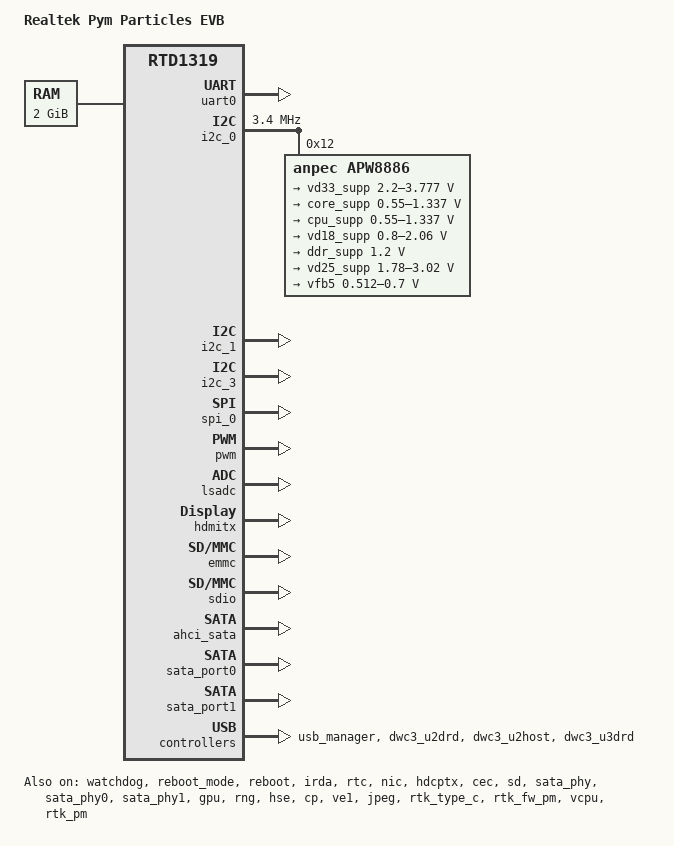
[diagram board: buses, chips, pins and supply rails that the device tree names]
// SPDX-License-Identifier: (GPL-2.0-or-later OR BSD-2-Clause)
/*
 * Copyright (c) 2019-2020 Realtek Semiconductor Corp.
 */

/dts-v1/;

#include <dt-bindings/regulator/anpec,apw888x.h>
#include <dt-bindings/clock/rtd1319-clk.h>
#include <dt-bindings/thermal/thermal.h>

#include "rtd13xx.dtsi"

/ {
	compatible = "realtek,pym-particles", "realtek,rtd1319";
	model = "Realtek Pym Particles EVB";

	memory@4000 {
		device_type = "memory";
		reg = <0x00004000 0x7fffc000>; /* boot ROM to 1 GiB or 2 GiB */
	};

	chosen {
		stdout-path = "serial0:460800n8";
	};
};

/* debug console (J1) */
&uart0 {
	status = "okay";
};

/* M.2 slot (CON8) */
&uart1 {
	status = "disabled";
};

/* GPIO connector (T1) */
&uart2 {
	status = "disabled";
};

/* PMIC */
&i2c_0 {
	clock-frequency = <3400000>;
	pinctrl-0 = <&i2c_pins_0_HS>;
	status = "okay";

	apw8886: apw8886@12 {
		compatible = "anpec,apw8886";
		reg = <0x12>;

		regulators: regulators {
			compatible = "anpec,apw8886-regulator";
		};

	};
};

&i2c_1 {
	status = "okay";
};

&i2c_3 {
	status = "okay";
};

&watchdog {
	status = "okay";
};

&reboot_mode {
	status = "okay";
};

&reboot {
	status = "okay";
};

&irda {
	status = "okay";
};

&gpio {
	status = "okay";
};

&rtc {
	status = "okay";
};

&nic {
	status = "okay";
};

&spi_0 {
	status = "okay";
};

&pwm {
	status = "okay";
};

&lsadc {
	status = "okay";
};

&hdmitx {
	status = "okay";
};

&hdcptx {
	status = "okay";
};

&cec {
	status = "okay";
};

&emmc {
	status = "okay";
};

&sd {
	status = "okay";
};

&sdio {
	status = "okay";
};

&sata_phy {
	status = "okay";
};

&sata_phy0 {
	status = "okay";
};

&sata_phy1 {
	status = "okay";
};

&ahci_sata {
	status = "okay";
};

&sata_port0 {
	status = "okay";
};

&sata_port1 {
	status = "okay";
};

&gpu {
	status = "okay";
};

&sound {
	status = "okay";
};

&rng {
	status = "okay";
};

&hse {
	status = "okay";
};

&cp {
	status = "okay";
};

&ve1 {
	status = "okay";
};

&jpeg {
	status = "okay";
};

&apw8886 {
	regulators {
		vd33_supp: dc1 {
			regulator-name = "vd33";
			regulator-min-microvolt = <2200000>;
			regulator-max-microvolt = <3777500>;

			regulator-boot-on;
			regulator-always-on;
			regulator-initial-mode = <APW888X_DC_MODE_AUTO>;
			regulator-state-mem {
				regulator-on-in-suspend;
				regulator-suspend-microvolt = <3300000>;
			};
		};

		core_supp: dc2 {
			regulator-name = "core";
			regulator-min-microvolt = <550000>;
			regulator-max-microvolt = <1337500>;

			regulator-boot-on;
			regulator-always-on;
			regulator-initial-mode = <APW888X_DC_MODE_AUTO>;
			regulator-state-mem {
				regulator-on-in-suspend;
				regulator-suspend-microvolt = <900000>;
			};
		};

		cpu_supp: dc3 {
			regulator-name = "cpudvs";
			regulator-min-microvolt = <550000>;
			regulator-max-microvolt = <1337500>;

			regulator-boot-on;
			regulator-always-on;
			regulator-initial-mode = <APW888X_DC_MODE_AUTO>;
			regulator-ramp-delay = <625>;
			regulator-state-mem {
				regulator-off-in-suspend;
			};
		};

		vd18_supp: dc4 {
			regulator-name = "vd18";
			regulator-min-microvolt = <800000>;
			regulator-max-microvolt = <2060000>;

			regulator-boot-on;
			regulator-always-on;
			regulator-initial-mode = <APW888X_DC_MODE_AUTO>;
			regulator-state-mem {
				regulator-on-in-suspend;
			};
		};

		ddr_supp: dc5 {
			regulator-name = "ddr";
			regulator-min-microvolt = <1200000>;
			regulator-max-microvolt = <1200000>;
			regulator-boot-on;
			regulator-always-on;
			regulator-initial-mode = <APW888X_DC_MODE_AUTO>;
			regulator-state-mem {
				regulator-on-in-suspend;
			};
			regulator-state-shutdown {
				regulator-off-in-suspend;
			};
		};

		vd25_supp: ldo1 {
			regulator-name = "vd25";
			regulator-min-microvolt = <1780000>;
			regulator-max-microvolt = <3020000>;

			regulator-boot-on;
			regulator-always-on;
			regulator-initial-mode = <APW888X_LDO_MODE_NORMAL>;
			regulator-state-mem {
				regulator-on-in-suspend;
			};
		};

		vfb5 {
			regulator-name = "vfb5";
			regulator-min-microvolt = <512500>;
			regulator-max-microvolt = <700000>;

			regulator-boot-on;
			regulator-always-on;
			regulator-state-mem {
				regulator-on-in-suspend;
			};
		};
	};
};

&cpu0 {
	clocks = <&cc RTD1319_CRT_PLL_SCPU>;
	cpu-supply = <&cpu_supp>;
	operating-points-v2 = <&cpu_opps>;
	#cooling-cells = <2>;
};

&cpu1 {
	clocks = <&cc RTD1319_CRT_PLL_SCPU>;
	cpu-supply = <&cpu_supp>;
	operating-points-v2 = <&cpu_opps>;
	#cooling-cells = <2>;
};

&cpu2 {
	clocks = <&cc RTD1319_CRT_PLL_SCPU>;
	cpu-supply = <&cpu_supp>;
	operating-points-v2 = <&cpu_opps>;
	#cooling-cells = <2>;
};

&cpu3 {
	clocks = <&cc RTD1319_CRT_PLL_SCPU>;
	cpu-supply = <&cpu_supp>;
	operating-points-v2 = <&cpu_opps>;
	#cooling-cells = <2>;
};

&cpu_dvfs {
	fss,opp-updated = <0>;
	fss,volt-correct = <12500 12500 12500>;
	fss,volt-step = <25000>;
	fss,volt-min = <850000>;
	fss,volt-max = <1100000>;

	cpu_opps: cpu-opp-table {
		compatible = "operating-points-v2";
		opp-shared;
		opp600: opp-600mhz {
			opp-hz = /bits/ 64 <600000000>;
			opp-microvolt = <862500>;
			opp-microvolt-fss = <0>;
			clock-latency-ns = <150000>;
			status = "okay";
		};
		opp700: opp-700mhz {
			opp-hz = /bits/ 64 <700000000>;
			opp-microvolt = <887500>;
			opp-microvolt-fss = <0>;
			clock-latency-ns = <150000>;
			status = "okay";
		};
		opp800: opp-800mhz {
			opp-hz = /bits/ 64 <800000000>;
			opp-microvolt = <912500>;
			opp-microvolt-fss = <0>;
			clock-latency-ns = <150000>;
			status = "okay";
		};
		opp900: opp-900mhz {
			opp-hz = /bits/ 64 <900000000>;
			opp-microvolt = <937500>;
			opp-microvolt-fss = <0>;
			clock-latency-ns = <150000>;
			status = "okay";
		};
		opp1000: opp-1000mhz {
			opp-hz = /bits/ 64 <1000000000>;
			opp-microvolt = <962500>;
			opp-microvolt-fss = <0>;
			clock-latency-ns = <150000>;
			status = "okay";
		};
		opp1100: opp-1100mhz {
			opp-hz = /bits/ 64 <1100000000>;
			opp-microvolt = <987500>;
			opp-microvolt-fss = <0>;
			clock-latency-ns = <150000>;
			opp-suspend;
			status = "okay";
		};
		opp1200: opp-1200mhz {
			opp-hz = /bits/ 64 <1200000000>;
			opp-microvolt = <1012500>;
			opp-microvolt-fss = <0>;
			clock-latency-ns = <150000>;
			status = "okay";
		};
		opp1300: opp-1300mhz {
			opp-hz = /bits/ 64 <1300000000>;
			opp-microvolt = <1050000>;
			opp-microvolt-fss = <0>;
			clock-latency-ns = <150000>;
			status = "okay";
		};
		opp1400: opp-1400mhz {
			opp-hz = /bits/ 64 <1400000000>;
			opp-microvolt = <1100000>;
			opp-microvolt-fss = <0>;
			clock-latency-ns = <150000>;
			status = "okay";
		};
	};
};

&usb_manager {
	status = "okay";

	gpio0 {
		realtek,power-gpio = <&gpio 48 GPIO_ACTIVE_HIGH>;
		power_low_active;
	};

	gpio1 {
		realtek,power-gpio = <&gpio 49 GPIO_ACTIVE_HIGH>;
		power_low_active;
	};

	rtk_usb {
		pcie_usb3phy_sel = <0x9800705c>; /* Only for RTD1319 */
			type_c {
			/* For 1319, u3drd */
			realtek,plug_side_switch-gpio = <&gpio 53 GPIO_ACTIVE_HIGH>;
		};

	};
};

&dwc3_u2drd {
	status = "okay";

	dwc3_u2drd@98020000 {
		dr_mode = "host"; /*host, peripheral*/
		status = "okay";
	};
};

&dwc3_u2host {
	status = "okay";
};

&dwc3_u3drd {
	status = "okay";

	dwc3_u3drd@981f0000 {
		dr_mode = "peripheral"; /*host, peripheral*/
		status = "okay";
	};
};

&rtk_type_c {
	status = "okay";

	dwc3_rtk = <&dwc3_u3drd>;
};

&cpu_thermal {
	trips {
		cpu_alert0: cpu-alert0 {
			temperature = <90000>;
			hysteresis = <0>;
			type = "passive";
		};
		cpu_alert1: cpu-alert1 {
			temperature = <105000>;
			hysteresis = <0>;
			type = "passive";
		};
	};
	cooling-maps {
		cpu-map0 {
			trip = <&cpu_alert0>;
			cooling-device = <&cpu0 THERMAL_NO_LIMIT 3>;
			contribution = <70>;
		};
		cpu-map1 {
			trip = <&cpu_alert1>;
			cooling-device = <&cpu0 4 THERMAL_NO_LIMIT>;
			contribution = <70>;
		};
	};
};

&rtk_fw_pm {
	status = "okay";
};

&vcpu {
	status = "okay";
};

&rtk_pm {
	wakeup-flags = <0x3f>;
	wakeup-gpio-list = <10 0 0>,
			   <26 0 0>;
	wakeup-timer = <0>;
	status = "okay";
};

&audio_out {
	audio-gpios = <&gpio 47 GPIO_ACTIVE_HIGH>;
	pinctrl-names = "default";
	pinctrl-0 = <&spdif_pins>;
	status = "okay";
};
